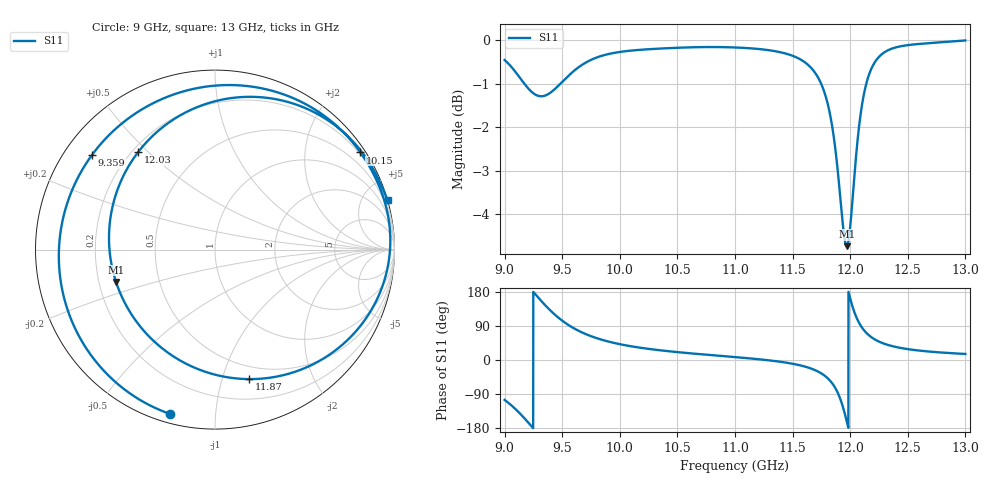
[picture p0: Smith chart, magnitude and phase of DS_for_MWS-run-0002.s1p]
! TOUCHSTONE file generated by CST DESIGN STUDIO
! Date and time: Tue Feb  4 13:55:38 2025
! Project name: C:\Work\MatlabApps\UnitCellOptimizationMatlab\CST\unitcell.cst
! Tree item: Tasks\Sweep1\SPara1\S-Parameters
! Header version: 2024
! Port assignment regex: !\s*Touchstone port\s*([0-9]+)\s*=\s*(CST MWS port|CST DES external port|CST DES block port)\s*(.+)\s* \(\"(.*)\"\)(\s*mode\s*([0-9]+))?.*
! Touchstone port assignment:
! Touchstone port 1 = CST DES external port 1 ("")
# GHz S MA R 50
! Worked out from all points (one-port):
!   4001 points, 9 GHz to 13 GHz, reference 50 ohm
!   lowest |S11| = -4.7 dB at 11.97 GHz (marker M1), VSWR 3.76, Z = 13.6 - j7.42 ohm
!   |S11| at or under -10 dB: nowhere
!   S11 on the Smith chart (normalised r, x): 9 GHz: 0.04, -0.76; 9.359 GHz: 0.08, +0.34; 10.15 GHz: 0.15, +3.29; 11.87 GHz: 0.38, -1.23; 12.03 GHz: 0.22, +0.47; 13 GHz: 0.01, +7.16
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9  0.9493 -105.3
9.097  0.9189 -130.3
9.202  0.8814 -163.9
9.277  0.8648 170.0
9.359  0.8647 142.4
9.428  0.8771 121.9
9.5  0.8959 103.8
9.597  0.9212 84.4
9.727  0.9463 65.6
10  0.9697 41.7
10.148  0.9745 33.7
10.5  0.9805 20.8
11  0.9813 7.7
11.5  0.9599 -9.9
11.74  0.8961 -33.6
11.813  0.8364 -50.6
11.873  0.7465 -75.1
11.923  0.6404 -110.5
11.97  0.5801 -161.8
12  0.6104 162.1
12.034  0.6923 128.1
12.065  0.7702 105.2
12.1  0.8391 86.6
12.152  0.9036 68.1
12.209  0.9415 55.1
12.325  0.9736 40.0
12.5  0.9873 28.7
13  0.9996 15.9
